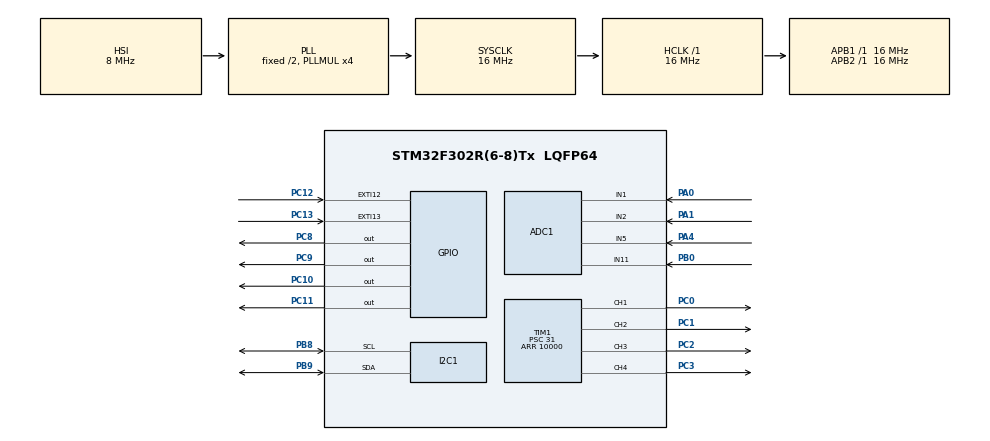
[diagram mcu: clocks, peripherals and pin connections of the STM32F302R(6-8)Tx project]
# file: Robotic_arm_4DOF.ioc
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ADC1.Channel-0\#ChannelRegularConversion=ADC_CHANNEL_1
ADC1.Channel-1\#ChannelRegularConversion=ADC_CHANNEL_2
ADC1.Channel-2\#ChannelRegularConversion=ADC_CHANNEL_5
ADC1.Channel-3\#ChannelRegularConversion=ADC_CHANNEL_11
ADC1.ClockPrescaler=ADC_CLOCK_SYNC_PCLK_DIV2
ADC1.ContinuousConvMode=DISABLE
ADC1.DMAContinuousRequests=DISABLE
ADC1.ExternalTrigConv=ADC_EXTERNALTRIGCONV_T1_TRGO
ADC1.NbrOfConversion=4
ADC1.NbrOfConversionFlag=1
ADC1.Offset-0\#ChannelRegularConversion=0
ADC1.Offset-1\#ChannelRegularConversion=0
ADC1.Offset-2\#ChannelRegularConversion=0
ADC1.Offset-3\#ChannelRegularConversion=0
ADC1.OffsetNumber-0\#ChannelRegularConversion=ADC_OFFSET_NONE
ADC1.OffsetNumber-1\#ChannelRegularConversion=ADC_OFFSET_NONE
ADC1.OffsetNumber-2\#ChannelRegularConversion=ADC_OFFSET_NONE
ADC1.OffsetNumber-3\#ChannelRegularConversion=ADC_OFFSET_NONE
ADC1.Rank-0\#ChannelRegularConversion=1
ADC1.Rank-1\#ChannelRegularConversion=2
ADC1.Rank-2\#ChannelRegularConversion=3
ADC1.Rank-3\#ChannelRegularConversion=4
ADC1.SamplingTime-0\#ChannelRegularConversion=ADC_SAMPLETIME_7CYCLES_5
ADC1.SamplingTime-1\#ChannelRegularConversion=ADC_SAMPLETIME_7CYCLES_5
ADC1.SamplingTime-2\#ChannelRegularConversion=ADC_SAMPLETIME_7CYCLES_5
ADC1.SamplingTime-3\#ChannelRegularConversion=ADC_SAMPLETIME_7CYCLES_5
ADC1.SequencerNbRanks=1
ADC1.SubFamily=STM32F302x8
ADC1.master=1
FREERTOS.INCLUDE_xEventGroupSetBitFromISR=1
FREERTOS.INCLUDE_xTaskGetHandle=1
FREERTOS.INCLUDE_xTimerPendFunctionCall=1
FREERTOS.Tasks01=ServoMotors,0,64,servo_motors,Default,NULL,Dynamic,NULL,NULL;EEPROMsave,1,250,eeprom_save,Default,NULL,Dynamic,NULL,NULL;Path,0,128,path,Default,NULL,Dynamic,NULL,NULL
FREERTOS.configMINIMAL_STACK_SIZE=64
FREERTOS.configTIMER_QUEUE_LENGTH=64
FREERTOS.configTIMER_TASK_STACK_DEPTH=64
FREERTOS.configTOTAL_HEAP_SIZE=7000
FREERTOS.configUSE_TIMERS=1
Mcu.Family=STM32F3
Mcu.Name=STM32F302R(6-8)Tx
Mcu.Package=LQFP64
NVIC.EXTI15_10_IRQn=true\:5\:0\:false\:false\:true\:true\:true\:true\:true
NVIC.PriorityGroup=NVIC_PRIORITYGROUP_4
NVIC.TIM2_IRQn=true\:1\:0\:true\:false\:true\:false\:false\:true\:true
NVIC.TimeBase=TIM2_IRQn
NVIC.TimeBaseIP=TIM2
PA0.Mode=IN1-Single-Ended
PA0.Signal=ADC1_IN1
PA1.Mode=IN2-Single-Ended
PA1.Signal=ADC1_IN2
PA13.Mode=Serial_Wire
PA13.Signal=SYS_JTMS-SWDIO
PA14.Mode=Serial_Wire
PA14.Signal=SYS_JTCK-SWCLK
PA4.Mode=IN5-Single-Ended
PA4.Signal=ADC1_IN5
PB0.Mode=IN11-Single-Ended
PB0.Signal=ADC1_IN11
PB8.Mode=I2C
PB8.Signal=I2C1_SCL
PB9.Mode=I2C
PB9.Signal=I2C1_SDA
PC0.Signal=S_TIM1_CH1
PC1.Signal=S_TIM1_CH2
PC10.Signal=GPIO_Output
PC11.Signal=GPIO_Output
PC12.GPIO_PuPd=GPIO_PULLDOWN
PC12.Signal=GPXTI12
PC13.Signal=GPXTI13
PC2.Signal=S_TIM1_CH3
PC3.Signal=S_TIM1_CH4
PC8.PinState=GPIO_PIN_SET
PC8.Signal=GPIO_Output
PC9.Signal=GPIO_Output
ProjectManager.HeapSize=0x200
ProjectManager.StackSize=0x400
ProjectManager.TargetToolchain=STM32CubeIDE
RCC.AHBFreq_Value=16000000
RCC.APB1Freq_Value=16000000
RCC.APB1TimFreq_Value=16000000
RCC.APB2Freq_Value=16000000
RCC.APB2TimFreq_Value=16000000
RCC.CortexFreq_Value=16000000
RCC.HCLKFreq_Value=16000000
RCC.HSE_VALUE=8000000
RCC.HSI_VALUE=8000000
RCC.LSE_VALUE=32768
RCC.PLLMUL=RCC_PLL_MUL4
RCC.SYSCLKFreq_VALUE=16000000
RCC.SYSCLKSourceVirtual=RCC_SYSCLKSOURCE_PLLCLK
RCC.USBFreq_Value=16000000
SH.S_TIM1_CH1.0=TIM1_CH1,PWM Generation1 CH1
SH.S_TIM1_CH2.0=TIM1_CH2,PWM Generation2 CH2
SH.S_TIM1_CH3.0=TIM1_CH3,PWM Generation3 CH3
SH.S_TIM1_CH4.0=TIM1_CH4,PWM Generation4 CH4
TIM1.Channel-PWM\ Generation1\ CH1=TIM_CHANNEL_1
TIM1.Channel-PWM\ Generation2\ CH2=TIM_CHANNEL_2
TIM1.Channel-PWM\ Generation3\ CH3=TIM_CHANNEL_3
TIM1.Channel-PWM\ Generation4\ CH4=TIM_CHANNEL_4
TIM1.Period=10000
TIM1.Prescaler=31
TIM1.Pulse-PWM\ Generation1\ CH1=750
TIM1.Pulse-PWM\ Generation2\ CH2=750
TIM1.Pulse-PWM\ Generation3\ CH3=750
TIM1.Pulse-PWM\ Generation4\ CH4=750
TIM1.TIM_MasterOutputTrigger=TIM_TRGO_UPDATE
VP_FREERTOS_VS_CMSIS_V1.Mode=CMSIS_V1
VP_SYS_VS_tim2.Mode=TIM2
VP_TIM1_VS_ClockSourceINT.Mode=Internal
board=custom

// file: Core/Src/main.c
/* USER CODE BEGIN Header */
/**
  ******************************************************************************
  * @file           : main.c
  * @brief          : Main program body
  ******************************************************************************
  * @attention
  *
  * Copyright (c) 2023 STMicroelectronics.
  * All rights reserved.
  *
  * This software is licensed under terms that can be found in the LICENSE file
  * in the root directory of this software component.
  * If no LICENSE file comes with this software, it is provided AS-IS.
  *
  ******************************************************************************
  */
/* USER CODE END Header */
#include "main.h"
#include "cmsis_os.h"

/* USER CODE BEGIN Includes */
#include "at24c256b.h"
/* USER CODE END Includes */

/* USER CODE BEGIN PD */
#define I2C_ADDRESS_AT24C256B 0xA0
/* USER CODE END PD */

ADC_HandleTypeDef hadc1;

I2C_HandleTypeDef hi2c1;

TIM_HandleTypeDef htim1;

osThreadId ServoMotorsHandle;
osThreadId EEPROMsaveHandle;
osThreadId PathHandle;
/* USER CODE BEGIN PV */
struct buffer_type{
	uint16_t adc_buffer[4];
	TimerHandle_t xTimer1Handle;
	EventGroupHandle_t xEventGroup1;
	uint16_t points[30];
	uint8_t number_of_points[10];
	uint8_t sum;
}buffer;

struct myEventGroup_type
{
	uint8_t flag1 : 1;
	uint8_t flag2 : 1;
	uint8_t flag3 : 1;
	uint8_t flagBlockTaskServom : 1;
}myEventGroup;

/* USER CODE END PV */

void SystemClock_Config(void);
static void MX_GPIO_Init(void);
static void MX_TIM1_Init(void);
static void MX_I2C1_Init(void);
static void MX_ADC1_Init(void);
void servo_motors(void const * argument);
void eeprom_save(void const * argument);
void path(void const * argument);

/* USER CODE BEGIN PFP */
void timer1Callback( TimerHandle_t xTimer );
/* USER CODE END PFP */

int main(void)
{
  /* USER CODE BEGIN 1 */
	myEventGroup.flag1 = 0;
	myEventGroup.flag2 = 0;
	myEventGroup.flag3 = 0;
	myEventGroup.flagBlockTaskServom = 0;

	buffer.sum = 0;
  /* USER CODE END 1 */

  /* MCU Configuration--------------------------------------------------------*/

  /* Reset of all peripherals, Initializes the Flash interface and the Systick. */
  HAL_Init();

  /* Configure the system clock */
  SystemClock_Config();

  /* Initialize all configured peripherals */
  MX_GPIO_Init();
  MX_TIM1_Init();
  MX_I2C1_Init();
  MX_ADC1_Init();
  /* USER CODE BEGIN 2 */
  HAL_TIM_PWM_Start(&htim1, TIM_CHANNEL_1);
  HAL_TIM_PWM_Start(&htim1, TIM_CHANNEL_2);
  HAL_TIM_PWM_Start(&htim1, TIM_CHANNEL_3);
  HAL_TIM_PWM_Start(&htim1, TIM_CHANNEL_4);
  TIM1->CCR1 = 750;
  TIM1->CCR2 = 300;
  TIM1->CCR3 = 1350;

  GPIOC->ODR |= GPIO_ODR_11;

	ADC1->CFGR |= ADC_CFGR_DMACFG; //1: DMA Circular Mode selected
	ADC1->CFGR |= ADC_CFGR_DMAEN; //Direct memory access enable

	RCC->AHBENR |= RCC_AHBENR_DMA1EN; // DMA1 clock enable
	DMA1_Channel1->CCR |= (1<<10); // memory size 16 bits
	DMA1_Channel1->CCR |= (1<<8); // peripheral size 16 bits
	DMA1_Channel1->CCR |= DMA_CCR_MINC; //memory increment mode
	DMA1_Channel1->CCR |= DMA_CCR_CIRC;
	DMA1_Channel1->CNDTR = 4;
	DMA1_Channel1->CPAR = &(ADC1->DR);
	DMA1_Channel1->CMAR = buffer.adc_buffer;
	DMA1_Channel1->CCR |= DMA_CCR_EN;

	ADC1->CR |= ADC_CR_ADEN; //ADC enable control
	while(ADC1->ISR & ADC_ISR_ADRDY) __asm__ volatile("NOP");
	ADC1->CR |= ADC_CR_ADSTART; // ADC start of regular conversion

	buffer.xEventGroup1 = xEventGroupCreate();
  /* USER CODE END 2 */

  /* USER CODE BEGIN RTOS_TIMERS */
  /* start timers, add new ones, ... */
	buffer.xTimer1Handle = xTimerCreate("Timer1", pdMS_TO_TICKS(50), pdTRUE, 0, timer1Callback);
	xTimerStart(buffer.xTimer1Handle, portMAX_DELAY);
  /* USER CODE END RTOS_TIMERS */

  /* Create the thread(s) */
  /* definition and creation of ServoMotors */
  osThreadDef(ServoMotors, servo_motors, osPriorityNormal, 0, 64);
  ServoMotorsHandle = osThreadCreate(osThread(ServoMotors), NULL);

  /* definition and creation of EEPROMsave */
  osThreadDef(EEPROMsave, eeprom_save, osPriorityAboveNormal, 0, 250);
  EEPROMsaveHandle = osThreadCreate(osThread(EEPROMsave), NULL);

  /* definition and creation of Path */
  osThreadDef(Path, path, osPriorityNormal, 0, 128);
  PathHandle = osThreadCreate(osThread(Path), NULL);

  /* Start scheduler */
  osKernelStart();
  /* We should never get here as control is now taken by the scheduler */
  /* Infinite loop */
  while (1)
  {

  }
}

void SystemClock_Config(void)
{
  RCC_OscInitTypeDef RCC_OscInitStruct = {0};
  RCC_ClkInitTypeDef RCC_ClkInitStruct = {0};
  RCC_PeriphCLKInitTypeDef PeriphClkInit = {0};

  /** Initializes the RCC Oscillators according to the specified parameters
  * in the RCC_OscInitTypeDef structure.
  */
  RCC_OscInitStruct.OscillatorType = RCC_OSCILLATORTYPE_HSI;
  RCC_OscInitStruct.HSIState = RCC_HSI_ON;
  RCC_OscInitStruct.HSICalibrationValue = RCC_HSICALIBRATION_DEFAULT;
  RCC_OscInitStruct.PLL.PLLState = RCC_PLL_ON;
  RCC_OscInitStruct.PLL.PLLSource = RCC_PLLSOURCE_HSI;
  RCC_OscInitStruct.PLL.PLLMUL = RCC_PLL_MUL4;
  if (HAL_RCC_OscConfig(&RCC_OscInitStruct) != HAL_OK)
  {
    Error_Handler();
  }

  /** Initializes the CPU, AHB and APB buses clocks
  */
  RCC_ClkInitStruct.ClockType = RCC_CLOCKTYPE_HCLK|RCC_CLOCKTYPE_SYSCLK
                              |RCC_CLOCKTYPE_PCLK1|RCC_CLOCKTYPE_PCLK2;
  RCC_ClkInitStruct.SYSCLKSource = RCC_SYSCLKSOURCE_PLLCLK;
  RCC_ClkInitStruct.AHBCLKDivider = RCC_SYSCLK_DIV1;
  RCC_ClkInitStruct.APB1CLKDivider = RCC_HCLK_DIV1;
  RCC_ClkInitStruct.APB2CLKDivider = RCC_HCLK_DIV1;

  if (HAL_RCC_ClockConfig(&RCC_ClkInitStruct, FLASH_LATENCY_0) != HAL_OK)
  {
    Error_Handler();
  }
  PeriphClkInit.PeriphClockSelection = RCC_PERIPHCLK_I2C1|RCC_PERIPHCLK_TIM1;
  PeriphClkInit.I2c1ClockSelection = RCC_I2C1CLKSOURCE_HSI;
  PeriphClkInit.Tim1ClockSelection = RCC_TIM1CLK_HCLK;
  if (HAL_RCCEx_PeriphCLKConfig(&PeriphClkInit) != HAL_OK)
  {
    Error_Handler();
  }
}

static void MX_ADC1_Init(void)
{

  ADC_ChannelConfTypeDef sConfig = {0};

  /** Common config
  */
  hadc1.Instance = ADC1;
  hadc1.Init.ClockPrescaler = ADC_CLOCK_SYNC_PCLK_DIV2;
  hadc1.Init.Resolution = ADC_RESOLUTION_12B;
  hadc1.Init.ScanConvMode = ADC_SCAN_ENABLE;
  hadc1.Init.ContinuousConvMode = DISABLE;
  hadc1.Init.DiscontinuousConvMode = DISABLE;
  hadc1.Init.ExternalTrigConvEdge = ADC_EXTERNALTRIGCONVEDGE_RISING;
  hadc1.Init.ExternalTrigConv = ADC_EXTERNALTRIGCONV_T1_TRGO;
  hadc1.Init.DataAlign = ADC_DATAALIGN_RIGHT;
  hadc1.Init.NbrOfConversion = 4;
  hadc1.Init.DMAContinuousRequests = DISABLE;
  hadc1.Init.EOCSelection = ADC_EOC_SINGLE_CONV;
  hadc1.Init.LowPowerAutoWait = DISABLE;
  hadc1.Init.Overrun = ADC_OVR_DATA_OVERWRITTEN;
  if (HAL_ADC_Init(&hadc1) != HAL_OK)
  {
    Error_Handler();
  }

  /** Configure Regular Channel
  */
  sConfig.Channel = ADC_CHANNEL_1;
  sConfig.Rank = ADC_REGULAR_RANK_1;
  sConfig.SingleDiff = ADC_SINGLE_ENDED;
  sConfig.SamplingTime = ADC_SAMPLETIME_7CYCLES_5;
  sConfig.OffsetNumber = ADC_OFFSET_NONE;
  sConfig.Offset = 0;
  if (HAL_ADC_ConfigChannel(&hadc1, &sConfig) != HAL_OK)
  {
    Error_Handler();
  }

  /** Configure Regular Channel
  */
  sConfig.Channel = ADC_CHANNEL_2;
  sConfig.Rank = ADC_REGULAR_RANK_2;
  if (HAL_ADC_ConfigChannel(&hadc1, &sConfig) != HAL_OK)
  {
    Error_Handler();
  }

  /** Configure Regular Channel
  */
  sConfig.Channel = ADC_CHANNEL_5;
  sConfig.Rank = ADC_REGULAR_RANK_3;
  if (HAL_ADC_ConfigChannel(&hadc1, &sConfig) != HAL_OK)
  {
    Error_Handler();
  }

  /** Configure Regular Channel
  */
  sConfig.Channel = ADC_CHANNEL_11;
  sConfig.Rank = ADC_REGULAR_RANK_4;
  if (HAL_ADC_ConfigChannel(&hadc1, &sConfig) != HAL_OK)
  {
    Error_Handler();
  }

}

static void MX_I2C1_Init(void)
{

  hi2c1.Instance = I2C1;
  hi2c1.Init.Timing = 0x2000090E;
  hi2c1.Init.OwnAddress1 = 0;
  hi2c1.Init.AddressingMode = I2C_ADDRESSINGMODE_7BIT;
  hi2c1.Init.DualAddressMode = I2C_DUALADDRESS_DISABLE;
  hi2c1.Init.OwnAddress2 = 0;
  hi2c1.Init.OwnAddress2Masks = I2C_OA2_NOMASK;
  hi2c1.Init.GeneralCallMode = I2C_GENERALCALL_DISABLE;
  hi2c1.Init.NoStretchMode = I2C_NOSTRETCH_DISABLE;
  if (HAL_I2C_Init(&hi2c1) != HAL_OK)
  {
    Error_Handler();
  }

  /** Configure Analogue filter
  */
  if (HAL_I2CEx_ConfigAnalogFilter(&hi2c1, I2C_ANALOGFILTER_ENABLE) != HAL_OK)
  {
    Error_Handler();
  }

  /** Configure Digital filter
  */
  if (HAL_I2CEx_ConfigDigitalFilter(&hi2c1, 0) != HAL_OK)
  {
    Error_Handler();
  }

}

static void MX_TIM1_Init(void)
{

  TIM_ClockConfigTypeDef sClockSourceConfig = {0};
  TIM_MasterConfigTypeDef sMasterConfig = {0};
  TIM_OC_InitTypeDef sConfigOC = {0};
  TIM_BreakDeadTimeConfigTypeDef sBreakDeadTimeConfig = {0};

  htim1.Instance = TIM1;
  htim1.Init.Prescaler = 31;
  htim1.Init.CounterMode = TIM_COUNTERMODE_UP;
  htim1.Init.Period = 10000;
  htim1.Init.ClockDivision = TIM_CLOCKDIVISION_DIV1;
  htim1.Init.RepetitionCounter = 0;
  htim1.Init.AutoReloadPreload = TIM_AUTORELOAD_PRELOAD_DISABLE;
  if (HAL_TIM_Base_Init(&htim1) != HAL_OK)
  {
    Error_Handler();
  }
  sClockSourceConfig.ClockSource = TIM_CLOCKSOURCE_INTERNAL;
  if (HAL_TIM_ConfigClockSource(&htim1, &sClockSourceConfig) != HAL_OK)
  {
    Error_Handler();
  }
  if (HAL_TIM_PWM_Init(&htim1) != HAL_OK)
  {
    Error_Handler();
  }
  sMasterConfig.MasterOutputTrigger = TIM_TRGO_UPDATE;
  sMasterConfig.MasterOutputTrigger2 = TIM_TRGO2_RESET;
  sMasterConfig.MasterSlaveMode = TIM_MASTERSLAVEMODE_DISABLE;
  if (HAL_TIMEx_MasterConfigSynchronization(&htim1, &sMasterConfig) != HAL_OK)
  {
    Error_Handler();
  }
  sConfigOC.OCMode = TIM_OCMODE_PWM1;
  sConfigOC.Pulse = 750;
  sConfigOC.OCPolarity = TIM_OCPOLARITY_HIGH;
  sConfigOC.OCNPolarity = TIM_OCNPOLARITY_HIGH;
  sConfigOC.OCFastMode = TIM_OCFAST_DISABLE;
  sConfigOC.OCIdleState = TIM_OCIDLESTATE_RESET;
  sConfigOC.OCNIdleState = TIM_OCNIDLESTATE_RESET;
  if (HAL_TIM_PWM_ConfigChannel(&htim1, &sConfigOC, TIM_CHANNEL_1) != HAL_OK)
  {
    Error_Handler();
  }
  if (HAL_TIM_PWM_ConfigChannel(&htim1, &sConfigOC, TIM_CHANNEL_2) != HAL_OK)
  {
    Error_Handler();
  }
  if (HAL_TIM_PWM_ConfigChannel(&htim1, &sConfigOC, TIM_CHANNEL_3) != HAL_OK)
  {
    Error_Handler();
  }
  if (HAL_TIM_PWM_ConfigChannel(&htim1, &sConfigOC, TIM_CHANNEL_4) != HAL_OK)
  {
    Error_Handler();
  }
  sBreakDeadTimeConfig.OffStateRunMode = TIM_OSSR_DISABLE;
  sBreakDeadTimeConfig.OffStateIDLEMode = TIM_OSSI_DISABLE;
  sBreakDeadTimeConfig.LockLevel = TIM_LOCKLEVEL_OFF;
  sBreakDeadTimeConfig.DeadTime = 0;
  sBreakDeadTimeConfig.BreakState = TIM_BREAK_DISABLE;
  sBreakDeadTimeConfig.BreakPolarity = TIM_BREAKPOLARITY_HIGH;
  sBreakDeadTimeConfig.BreakFilter = 0;
  sBreakDeadTimeConfig.Break2State = TIM_BREAK2_DISABLE;
  sBreakDeadTimeConfig.Break2Polarity = TIM_BREAK2POLARITY_HIGH;
  sBreakDeadTimeConfig.Break2Filter = 0;
  sBreakDeadTimeConfig.AutomaticOutput = TIM_AUTOMATICOUTPUT_DISABLE;
  if (HAL_TIMEx_ConfigBreakDeadTime(&htim1, &sBreakDeadTimeConfig) != HAL_OK)
  {
    Error_Handler();
  }
  HAL_TIM_MspPostInit(&htim1);

}

static void MX_GPIO_Init(void)
{
  GPIO_InitTypeDef GPIO_InitStruct = {0};

  /* GPIO Ports Clock Enable */
  __HAL_RCC_GPIOC_CLK_ENABLE();
  __HAL_RCC_GPIOA_CLK_ENABLE();
  __HAL_RCC_GPIOB_CLK_ENABLE();

  /*Configure GPIO pin Output Level */
  HAL_GPIO_WritePin(GPIOC, GPIO_PIN_8, GPIO_PIN_SET);

  /*Configure GPIO pin Output Level */
  HAL_GPIO_WritePin(GPIOC, GPIO_PIN_9|GPIO_PIN_10|GPIO_PIN_11, GPIO_PIN_RESET);

  /*Configure GPIO pin : PC13 */
  GPIO_InitStruct.Pin = GPIO_PIN_13;
  GPIO_InitStruct.Mode = GPIO_MODE_IT_RISING;
  GPIO_InitStruct.Pull = GPIO_NOPULL;
  HAL_GPIO_Init(GPIOC, &GPIO_InitStruct);

  /*Configure GPIO pins : PC8 PC9 PC10 PC11 */
  GPIO_InitStruct.Pin = GPIO_PIN_8|GPIO_PIN_9|GPIO_PIN_10|GPIO_PIN_11;
  GPIO_InitStruct.Mode = GPIO_MODE_OUTPUT_PP;
  GPIO_InitStruct.Pull = GPIO_NOPULL;
  GPIO_InitStruct.Speed = GPIO_SPEED_FREQ_LOW;
  HAL_GPIO_Init(GPIOC, &GPIO_InitStruct);

  /*Configure GPIO pin : PC12 */
  GPIO_InitStruct.Pin = GPIO_PIN_12;
  GPIO_InitStruct.Mode = GPIO_MODE_IT_RISING;
  GPIO_InitStruct.Pull = GPIO_PULLDOWN;
  HAL_GPIO_Init(GPIOC, &GPIO_InitStruct);

  /* EXTI interrupt init*/
  HAL_NVIC_SetPriority(EXTI15_10_IRQn, 5, 0);
  HAL_NVIC_EnableIRQ(EXTI15_10_IRQn);

}

/* USER CODE BEGIN 4 */
void timer1Callback( TimerHandle_t xTimer )
{
	//xEventGroupSetBits(buffer.xEventGroup1, 0x1);
//	xEventGroupSetBitsFromISR(buffer.xEventGroup1, 0x1, pdFALSE);
	myEventGroup.flag1 = 1;
}

void HAL_GPIO_EXTI_Callback(uint16_t GPIO_Pin)
{
	if(GPIO_Pin == GPIO_PIN_13)
	{
//		xEventGroupSetBitsFromISR(buffer.xEventGroup1, 0x2, pdFALSE);
		myEventGroup.flag2 = 1;
	}
	if(GPIO_Pin == GPIO_PIN_12)
	{
//		xEventGroupSetBitsFromISR(buffer.xEventGroup1, 0x4, pdFALSE);
		myEventGroup.flag3 = 1;
	}
}

/* USER CODE END 4 */

void servo_motors(void const * argument)
{
  /* USER CODE BEGIN 5 */
  /* Infinite loop */
  for(;;)
  {
//	  xEventGroupWaitBits(buffer.xEventGroup1, 0x1, pdTRUE, pdTRUE, portMAX_DELAY);
//	  EventBits_t result = 0;
//	  result = xEventGroupGetBits(buffer.xEventGroup1);
	  while(myEventGroup.flag1 != 1 && myEventGroup.flagBlockTaskServom == 0)
	  {
		  vTaskDelay(5);
	  }
	  if(buffer.adc_buffer[0]>2200 && TIM1->CCR1 <1700)  TIM1->CCR1 +=5;
	  else if(buffer.adc_buffer[0]<1850 && TIM1->CCR1 > 30) TIM1->CCR1 -=5;
	  if(buffer.adc_buffer[1]>2200 && TIM1->CCR2 <1700)  TIM1->CCR2 +=5;
	  else if(buffer.adc_buffer[1]<1850 && TIM1->CCR2 > 30) TIM1->CCR2 -=5;
	  if(buffer.adc_buffer[2]>2200 && TIM1->CCR3 <1700)  TIM1->CCR3 +=5;
	  else if(buffer.adc_buffer[2]<1850 && TIM1->CCR3 > 30) TIM1->CCR3 -=5;
//	  TIM1->CCR1 = ((float)buffer.adc_buffer[0]/4096)*1000 + 250;
//	  TIM1->CCR2 = ((float)buffer.adc_buffer[1]/4096)*1000 - 350;
//	  TIM1->CCR3 = ((float)buffer.adc_buffer[2]/4096)*1000 + 550;
	  __asm__ volatile("NOP");
	  myEventGroup.flag1 = 0;
  }
  /* USER CODE END 5 */
}

void eeprom_save(void const * argument)
{
  /* USER CODE BEGIN eeprom_save */
	uint16_t i = 0;
	uint16_t address = 0;
  /* Infinite loop */
  for(;;)
  {
//		__asm__ volatile("NOP");
//		uint16_t address = 64;
//		char data_to_EEPROM[] = "ABCUUUUUUUUUUUUIIIIIIIIIIITTTTTTTTTTTFFFFFFFFFFFFSSSSSSSKKKKKK";
//		at24c256b_page_write(&hi2c1, I2C_ADDRESS_AT24C256B, (int8_t*)data_to_EEPROM, sizeof(data_to_EEPROM), address, GPIOC, GPIO_ODR_10);
//		vTaskDelay(50); // Between write and read operation must be delay!
//		char buffer_for_seqread[64] = {0};
//		vTaskDelay(5);
//		at24c256b_sequential_read(&hi2c1, I2C_ADDRESS_AT24C256B, (int8_t*)buffer_for_seqread, sizeof(buffer_for_seqread), address, GPIOC, GPIO_ODR_10);
//		vTaskDelay(100);
	  //xEventGroupWaitBits(buffer.xEventGroup1, 0x2, pdTRUE, pdTRUE, portMAX_DELAY);
//	  uint32_t result = 0;
//	  result = xEventGroupGetBits(buffer.xEventGroup1);
	  while(myEventGroup.flag2 != 1)
	  {
		  vTaskDelay(15);
	  }
	  buffer.points[i] = TIM1->CCR1;
	  buffer.points[i+1] = TIM1->CCR2;
	  buffer.points[i+2] = TIM1->CCR3;
	  at24c256b_page_write(&hi2c1, I2C_ADDRESS_AT24C256B, (int8_t*)&buffer.points[i], 6, address, GPIOC, GPIO_ODR_10);
	  address+=6;
	  i+=3;
	  vTaskDelay(10);
	  at24c256b_page_write(&hi2c1, I2C_ADDRESS_AT24C256B, (int8_t*)&i, 2, 64, GPIOC, GPIO_ODR_10);
	  if(i == 30) i = 0;
	    buffer.sum = i;
	  vTaskDelay(100);
//	  xEventGroupClearBits(buffer.xEventGroup1, 0x2);
	  myEventGroup.flag2 = 0;
  }
  /* USER CODE END eeprom_save */
}

void path(void const * argument)
{
  /* USER CODE BEGIN path */
  /* Infinite loop */
  for(;;)
  {
	  while(myEventGroup.flag3 != 1)
	  {
		  vTaskDelay(15);
	  }
	  myEventGroup.flagBlockTaskServom = 1;
	  uint16_t data_fromEEPROM[30] = {0};
	  uint16_t address = 0;
	  uint16_t npoints = 0;
	  at24c256b_sequential_read(&hi2c1, I2C_ADDRESS_AT24C256B, (int8_t*)&npoints, 2, 64, GPIOC, GPIO_ODR_10);
	  for(uint8_t i = 0; i<(npoints/3); i++)
	  {
		  at24c256b_sequential_read(&hi2c1, I2C_ADDRESS_AT24C256B, (int8_t*)&data_fromEEPROM[i*3], sizeof(data_fromEEPROM[i*3]), address, GPIOC, GPIO_ODR_10);
		  address+=2;
		  TIM1->CCR1 = data_fromEEPROM[i*3];
		  at24c256b_sequential_read(&hi2c1, I2C_ADDRESS_AT24C256B, (int8_t*)&data_fromEEPROM[i*3+1], sizeof(data_fromEEPROM[i*3]), address, GPIOC, GPIO_ODR_10);
		  address+=2;
		  TIM1->CCR2 = data_fromEEPROM[i*3+1];
		  at24c256b_sequential_read(&hi2c1, I2C_ADDRESS_AT24C256B, (int8_t*)&data_fromEEPROM[i*3+2], sizeof(data_fromEEPROM[i*3]), address, GPIOC, GPIO_ODR_10);
		  address+=2;
		  TIM1->CCR3 = data_fromEEPROM[i*3+2];
		  vTaskDelay(600);
		  __asm__ volatile("NOP");
	  }
	  vTaskDelay(100);
	  myEventGroup.flag3 = 0;
	  myEventGroup.flagBlockTaskServom = 0;
  }
  /* USER CODE END path */
}

void HAL_TIM_PeriodElapsedCallback(TIM_HandleTypeDef *htim)
{
  if (htim->Instance == TIM2) {
    HAL_IncTick();
  }
}

void Error_Handler(void)
{
  __disable_irq();
  while (1)
  {
  }
}
